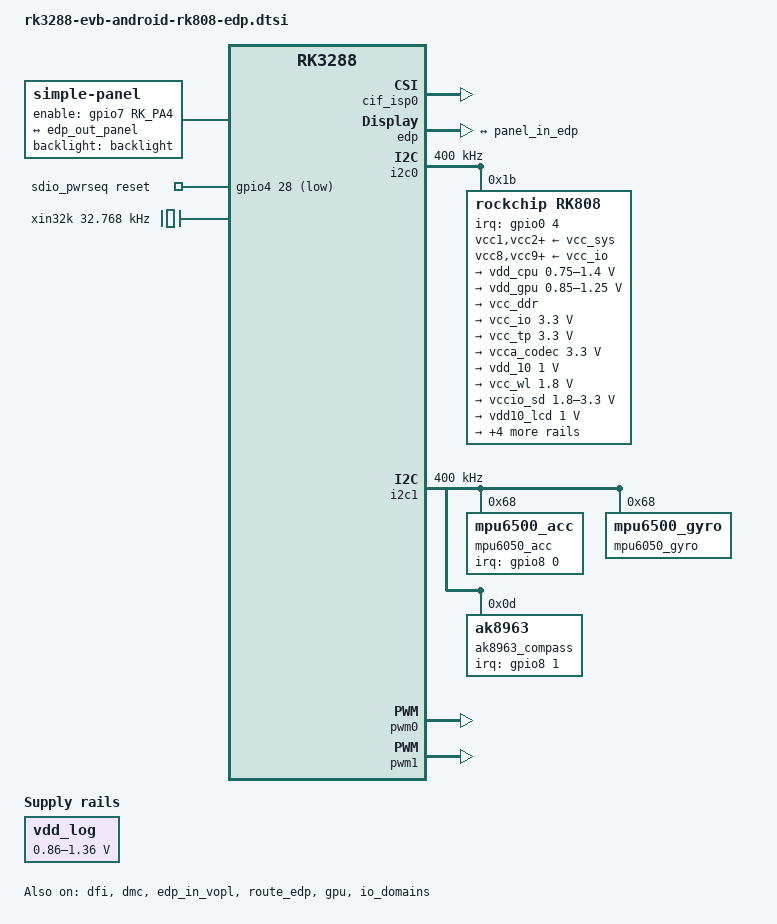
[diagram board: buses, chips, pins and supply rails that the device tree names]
/*
 * Copyright (c) 2018 Fuzhou Rockchip Electronics Co., Ltd
 *
 * SPDX-License-Identifier: (GPL-2.0+ OR MIT)
 */

/dts-v1/;
#include "rk3288-evb.dtsi"
#include "rk3288-android.dtsi"
#include <dt-bindings/sensor-dev.h>

/ {
	panel {
		compatible = "simple-panel";
		backlight = <&backlight>;
		enable-gpios = <&gpio7 RK_PA4 GPIO_ACTIVE_HIGH>;
		prepare-delay-ms = <120>;

		display-timings {
			native-mode = <&timing0>;

			timing0: timing0 {
				clock-frequency = <200000000>;
				hactive = <1536>;
				vactive = <2048>;
				hfront-porch = <12>;
				hsync-len = <16>;
				hback-porch = <48>;
				vfront-porch = <8>;
				vsync-len = <4>;
				vback-porch = <8>;
				hsync-active = <0>;
				vsync-active = <0>;
				de-active = <0>;
				pixelclk-active = <0>;
			};
		};

		port {
			panel_in_edp: endpoint {
				remote-endpoint = <&edp_out_panel>;
			};
		};
	};

	sdio_pwrseq: sdio-pwrseq {
		compatible = "mmc-pwrseq-simple";
		clocks = <&rk808 1>;
		clock-names = "ext_clock";
		pinctrl-names = "default";
		pinctrl-0 = <&wifi_enable_h>;

		/*
		 * On the module itself this is one of these (depending
		 * on the actual card populated):
		 * - SDIO_RESET_L_WL_REG_ON
		 * - PDN (power down when low)
		 */
		reset-gpios = <&gpio4 28 GPIO_ACTIVE_LOW>;
	};

	test-power {
		status = "okay";
	};

	wireless-bluetooth {
		clocks = <&rk808 1>;
		clock-names = "ext_clock";
	};

	/delete-node/ sdmmc-regulator;

	vdd_log: vdd-logic {
		compatible = "pwm-regulator";
		rockchip,pwm_id = <1>;
		rockchip,pwm_voltage = <1100000>;
		pwms = <&pwm1 0 25000 1>;
		regulator-name = "vcc_log";
		regulator-min-microvolt = <860000>;
		regulator-max-microvolt = <1360000>;
		regulator-always-on;
		regulator-boot-on;
	};

	xin32k: xin32k {
		compatible = "fixed-clock";
		clock-frequency = <32768>;
		clock-output-names = "xin32k";
		#clock-cells = <0>;
	};
};

&backlight {
	pwms = <&pwm0 0 1000000 0>;
	enable-gpios = <&gpio7 RK_PA2 GPIO_ACTIVE_HIGH>;
};

&cpu0 {
	cpu-supply = <&vdd_cpu>;
};

&cif_isp0 {
	status = "okay";
};

&dfi {
	status = "okay";
};

&dmc {
	center-supply = <&vdd_log>;
	status = "okay";
};

&edp {
	force-hpd;
	status = "okay";

	ports {
		port@1 {
			reg = <1>;

			edp_out_panel: endpoint {
				remote-endpoint = <&panel_in_edp>;
			};
		};
	};
};

&edp_in_vopb {
	status = "disabled";
};

&edp_in_vopl {
	status = "okay";
};

&route_edp {
	connect = <&vopl_out_edp>;
	status = "okay";
};

&gpu {
	status = "okay";
	mali-supply = <&vdd_gpu>;
};

&gmac {
	max-speed = <1000>;
};

&hdmi_analog_sound {
	status = "disabled";
};

&sound {
	status = "okay";
};

&i2c0 {
	clock-frequency = <400000>;

	rk808: pmic@1b {
		compatible = "rockchip,rk808";
		reg = <0x1b>;
		interrupt-parent = <&gpio0>;
		interrupts = <4 IRQ_TYPE_LEVEL_LOW>;
		pinctrl-names = "default";
		pinctrl-0 = <&pmic_int &global_pwroff>;
		rockchip,system-power-controller;
		wakeup-source;
		#clock-cells = <1>;
		clock-output-names = "rk808-clkout1", "rk808-clkout2";

		vcc1-supply = <&vcc_sys>;
		vcc2-supply = <&vcc_sys>;
		vcc3-supply = <&vcc_sys>;
		vcc4-supply = <&vcc_sys>;
		vcc6-supply = <&vcc_sys>;
		vcc8-supply = <&vcc_io>;
		vcc9-supply = <&vcc_io>;
		vcc12-supply = <&vcc_io>;
		vddio-supply = <&vcc_io>;

		regulators {
			vdd_cpu: DCDC_REG1 {
				regulator-always-on;
				regulator-boot-on;
				regulator-min-microvolt = <750000>;
				regulator-max-microvolt = <1400000>;
				regulator-name = "vdd_arm";
				regulator-state-mem {
					regulator-off-in-suspend;
				};
			};

			vdd_gpu: DCDC_REG2 {
				regulator-always-on;
				regulator-boot-on;
				regulator-min-microvolt = <850000>;
				regulator-max-microvolt = <1250000>;
				regulator-name = "vdd_gpu";
				regulator-ramp-delay = <6000>;
				regulator-state-mem {
					regulator-off-in-suspend;
				};
			};

			vcc_ddr: DCDC_REG3 {
				regulator-always-on;
				regulator-boot-on;
				regulator-name = "vcc_ddr";
				regulator-state-mem {
					regulator-on-in-suspend;
				};
			};

			vcc_io: DCDC_REG4 {
				regulator-always-on;
				regulator-boot-on;
				regulator-min-microvolt = <3300000>;
				regulator-max-microvolt = <3300000>;
				regulator-name = "vcc_io";
				regulator-state-mem {
					regulator-on-in-suspend;
					regulator-suspend-microvolt = <3300000>;
				};
			};

			vcc_tp: LDO_REG1 {
				regulator-always-on;
				regulator-boot-on;
				regulator-min-microvolt = <3300000>;
				regulator-max-microvolt = <3300000>;
				regulator-name = "vcc_tp";
				regulator-state-mem {
					regulator-off-in-suspend;
				};
			};

			vcca_codec: LDO_REG2 {
				regulator-always-on;
				regulator-boot-on;
				regulator-min-microvolt = <3300000>;
				regulator-max-microvolt = <3300000>;
				regulator-name = "vcca_codec";
				regulator-state-mem {
					regulator-on-in-suspend;
					regulator-suspend-microvolt = <3300000>;
				};
			};

			vdd_10: LDO_REG3 {
				regulator-always-on;
				regulator-boot-on;
				regulator-min-microvolt = <1000000>;
				regulator-max-microvolt = <1000000>;
				regulator-name = "vdd_10";
				regulator-state-mem {
					regulator-on-in-suspend;
					regulator-suspend-microvolt = <1000000>;
				};
			};

			vcc_wl: LDO_REG4 {
				regulator-always-on;
				regulator-boot-on;
				regulator-min-microvolt = <1800000>;
				regulator-max-microvolt = <1800000>;
				regulator-name = "vcc_wl";
				regulator-state-mem {
					regulator-on-in-suspend;
				};
			};

			vccio_sd: LDO_REG5 {
				regulator-always-on;
				regulator-boot-on;
				regulator-min-microvolt = <1800000>;
				regulator-max-microvolt = <3300000>;
				regulator-name = "vccio_sd";
				regulator-state-mem {
					regulator-off-in-suspend;
				};
			};

			vdd10_lcd: LDO_REG6 {
				regulator-always-on;
				regulator-boot-on;
				regulator-min-microvolt = <1000000>;
				regulator-max-microvolt = <1000000>;
				regulator-name = "vdd10_lcd";
				regulator-state-mem {
					regulator-off-in-suspend;
				};
			};

			vcc_18: LDO_REG7 {
				regulator-always-on;
				regulator-boot-on;
				regulator-min-microvolt = <1800000>;
				regulator-max-microvolt = <1800000>;
				regulator-name = "vcc_18";
				regulator-state-mem {
					regulator-on-in-suspend;
					regulator-suspend-microvolt = <1800000>;
				};
			};

			vcc18_lcd: LDO_REG8 {
				regulator-always-on;
				regulator-boot-on;
				regulator-min-microvolt = <1800000>;
				regulator-max-microvolt = <1800000>;
				regulator-name = "vcc18_lcd";
				regulator-state-mem {
					regulator-off-in-suspend;
				};
			};

			vcc_sd: SWITCH_REG1 {
				regulator-always-on;
				regulator-boot-on;
				regulator-name = "vcc_sd";
				regulator-state-mem {
					regulator-off-in-suspend;
				};
			};

			vcc_lcd: SWITCH_REG2 {
				regulator-always-on;
				regulator-boot-on;
				regulator-name = "vcc_lcd";
				regulator-state-mem {
					regulator-off-in-suspend;
				};
			};
		};
	};
};

&i2c1 {
	status = "okay";
	clock-frequency = <400000>;

	mpu6050_acc: mpu-acc@68 {
		status = "okay";
		compatible = "mpu6500_acc";
		pinctrl-names = "default";
		pinctrl-0 = <&mpu6050_irq_gpio>;
		reg = <0x68>;
		irq-gpio = <&gpio8 0 IRQ_TYPE_EDGE_RISING>;
		irq_enable = <0>;
		poll_delay_ms = <30>;
		type = <SENSOR_TYPE_ACCEL>;
		layout = <8>;
	};

	mpu6050_gyro: mpu-gyro@68 {
		status = "okay";
		compatible = "mpu6500_gyro";
		reg = <0x68>;
		irq_enable = <0>;
		poll_delay_ms = <30>;
		type = <SENSOR_TYPE_GYROSCOPE>;
		layout = <8>;
	};

	ak8963_compass: ak8963-compass@0d {
		status = "okay";
		compatible = "ak8963";
		pinctrl-names = "default";
		pinctrl-0 = <&ak8963_irq_gpio>;
		reg = <0x0d>;
		type = <SENSOR_TYPE_COMPASS>;
		irq-gpio = <&gpio8 1 IRQ_TYPE_EDGE_RISING>;
		irq_enable = <0>;
		poll_delay_ms = <30>;
		layout = <1>;
	};

};

&io_domains {
	status = "okay";
	audio-supply = <&vcc_io>;
	bb-supply = <&vcc_io>;
	dvp-supply = <&vcc_io>;
	flash0-supply = <&vcc_18>;
	flash1-supply = <&vcc_io>;
	gpio30-supply = <&vcc_io>;
	gpio1830 = <&vcc_io>;
	lcdc-supply = <&vcc_lcd>;
	sdcard-supply = <&vccio_sd>;
	wifi-supply = <&vcc_wl>;
};

&rockchip_suspend {
	status = "okay";
	rockchip,pwm-regulator-config = <
	(0
	| PWM1_REGULATOR_EN
	)
	>;
};

&pwm0 {
	status = "okay";
};

&pwm1 {
	status = "okay";
	pinctrl-names = "active";
	pinctrl-0 = <&pwm1_pin_pull_down>;
};

&pinctrl {
	mpu6050 {
		mpu6050_irq_gpio: mpu6050-irq-gpio {
			rockchip,pins = <8 RK_PA0 RK_FUNC_GPIO &pcfg_pull_none>;
		};
	};

	ak8963 {
		ak8963_irq_gpio: ak8963-irq-gpio {
			rockchip,pins = <8 RK_PA1 RK_FUNC_GPIO &pcfg_pull_none>;
		};
	};
};
